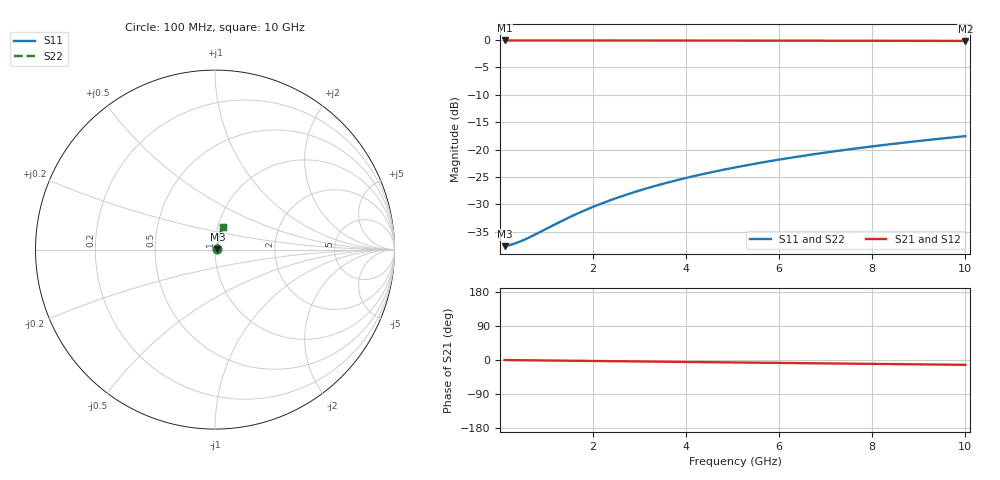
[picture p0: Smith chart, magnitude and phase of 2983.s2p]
# Hz S RI R 50.00
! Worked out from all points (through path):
!   100 points, 100 MHz to 10 GHz, reference 50 ohm
!   highest |S21| = -0.11 dB at 100 MHz (marker M1); lowest = -0.2 dB at 10 GHz (marker M2)
!   group delay of S21, straight-line fit = 3.54 ps
!   lowest |S11| = -37.6 dB at 100 MHz (marker M3), VSWR 1.03, Z = 51.3 + j0.134 ohm
!   |S11| at or under -10 dB: start of sweep to end of sweep
!   |S22| runs from -37.6 to -17.6 dB; largest |S21 - S12| = 0
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1e8  0.0131 0.00131  0.9869 -0.00221  0.9869 -0.00221  0.0131 0.00131
2e8  0.0132 0.00262  0.9868 -0.00442  0.9868 -0.00442  0.0132 0.00262
3e8  0.0133 0.00392  0.9867 -0.00662  0.9867 -0.00662  0.0133 0.00392
4e8  0.0133 0.00523  0.9866 -0.00883  0.9866 -0.00883  0.0133 0.00523
5e8  0.0134 0.00654  0.9866 -0.011  0.9866 -0.011  0.0134 0.00654
7e8  0.0136 0.00915  0.9864 -0.0155  0.9864 -0.0155  0.0136 0.00915
1.4e9  0.0142 0.0183  0.9857 -0.0309  0.9857 -0.0309  0.0142 0.0183
1.8e9  0.0146 0.0235  0.9852 -0.0397  0.9852 -0.0397  0.0146 0.0235
2.2e9  0.0151 0.0287  0.9846 -0.0485  0.9846 -0.0485  0.0151 0.0287
2.6e9  0.0158 0.0339  0.9839 -0.0573  0.9839 -0.0573  0.0158 0.0339
3e9  0.0165 0.039  0.9831 -0.066  0.9831 -0.066  0.0165 0.039
3.4e9  0.0173 0.0442  0.9822 -0.0748  0.9822 -0.0748  0.0173 0.0442
3.8e9  0.0181 0.0493  0.9812 -0.0835  0.9812 -0.0835  0.0181 0.0493
4.2e9  0.0191 0.0544  0.9801 -0.0923  0.9801 -0.0923  0.0191 0.0544
4.6e9  0.0202 0.0595  0.9789 -0.101  0.9789 -0.101  0.0202 0.0595
5.1e9  0.0216 0.0659  0.9773 -0.1118  0.9773 -0.1118  0.0216 0.0659
5.9e9  0.0242 0.0759  0.9743 -0.1291  0.9743 -0.1291  0.0242 0.0759
6.7e9  0.0272 0.0859  0.9709 -0.1463  0.9709 -0.1463  0.0272 0.0859
7.5e9  0.0305 0.0957  0.9672 -0.1633  0.9672 -0.1633  0.0305 0.0957
8.4e9  0.0346 0.1065  0.9624 -0.1823  0.9624 -0.1823  0.0346 0.1065
9.2e9  0.0386 0.116  0.9578 -0.199  0.9578 -0.199  0.0386 0.116
1e10  0.043 0.1254  0.9529 -0.2156  0.9529 -0.2156  0.043 0.1254
